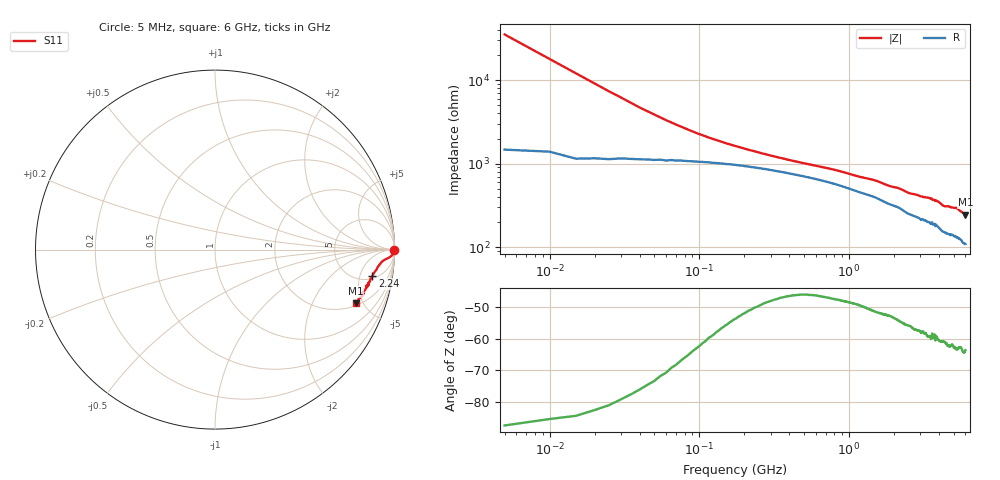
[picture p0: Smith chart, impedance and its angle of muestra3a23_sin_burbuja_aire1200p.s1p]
# Hz S RI R 50.000000
! Metas.Vna.Tools, 3.0.9519.15400
! Metas.Vna.Data, 3.0.9519.15360
! Created: UTC 2026.10.23 22:01:11
! FREQ  re:S1,1  im:S1,1
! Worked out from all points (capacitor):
!   1200 points, 5 MHz to 6 GHz, reference 50 ohm
!   read as one part to ground: C = 855 fF near 35 MHz
!   lowest |Z| = 245 ohm at 6 GHz (marker M1)
!   S11 on the Smith chart (normalised r, x): 5 MHz: open; 2.24 GHz: 5.68, -8.02; 6 GHz: 2.18, -4.39
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5000000  0.9999 -0.00282
8.5e7  0.9829 -0.0352
1.65e8  0.9646 -0.0469
2.65e8  0.9501 -0.0542
4e8  0.9375 -0.0615
7.55e8  0.921 -0.0784
1.14e9  0.9064 -0.0974
1.505e9  0.8986 -0.1125
1.85e9  0.885 -0.1309
2.24e9  0.8774 -0.1473
2.255e9  0.8768 -0.1481
2.55e9  0.8656 -0.1653
2.76e9  0.8647 -0.1717
3.005e9  0.858 -0.1818
3.4e9  0.8576 -0.1922
3.715e9  0.847 -0.2009
3.755e9  0.8427 -0.2058
3.825e9  0.8445 -0.2047
3.99e9  0.8418 -0.216
4.185e9  0.8289 -0.2319
4.325e9  0.8236 -0.2379
4.505e9  0.8247 -0.2426
4.61e9  0.827 -0.2439
4.895e9  0.8191 -0.2494
5.255e9  0.8208 -0.2585
5.61e9  0.7991 -0.2763
5.84e9  0.7972 -0.2914
6e9  0.7835 -0.2989
